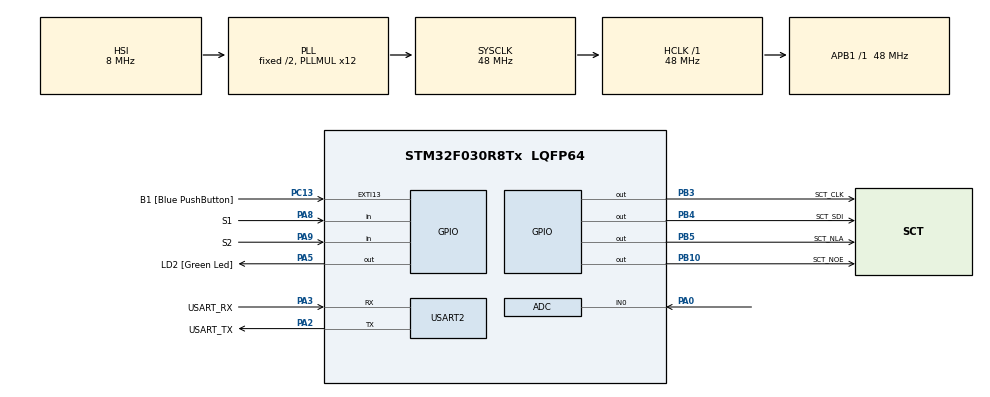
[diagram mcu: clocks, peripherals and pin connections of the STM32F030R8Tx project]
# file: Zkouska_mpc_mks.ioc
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ADC.ContinuousConvMode=ENABLE
ADC.SamplingTime=ADC_SAMPLETIME_239CYCLES_5
Mcu.Family=STM32F0
Mcu.Name=STM32F030R8Tx
Mcu.Package=LQFP64
PA0.Mode=IN0
PA0.Signal=ADC_IN0
PA13.GPIO_Label=TMS
PA13.Mode=Serial_Wire
PA13.Signal=SYS_SWDIO
PA14.GPIO_Label=TCK
PA14.Mode=Serial_Wire
PA14.Signal=SYS_SWCLK
PA2.GPIO_Label=USART_TX
PA2.GPIO_Mode=GPIO_MODE_AF_PP
PA2.GPIO_PuPd=GPIO_NOPULL
PA2.GPIO_Speed=GPIO_SPEED_FREQ_LOW
PA2.Mode=Asynchronous
PA2.Signal=USART2_TX
PA3.GPIO_Label=USART_RX
PA3.GPIO_Mode=GPIO_MODE_AF_PP
PA3.GPIO_PuPd=GPIO_NOPULL
PA3.GPIO_Speed=GPIO_SPEED_FREQ_LOW
PA3.Mode=Asynchronous
PA3.Signal=USART2_RX
PA5.GPIO_Label=LD2 [Green Led]
PA5.GPIO_Mode=GPIO_MODE_OUTPUT_PP
PA5.GPIO_PuPd=GPIO_NOPULL
PA5.GPIO_Speed=GPIO_SPEED_FREQ_LOW
PA5.Signal=GPIO_Output
PA8.GPIO_Label=S1
PA8.GPIO_PuPd=GPIO_PULLUP
PA8.Signal=GPIO_Input
PA9.GPIO_Label=S2
PA9.GPIO_PuPd=GPIO_PULLUP
PA9.Signal=GPIO_Input
PB10.GPIO_Label=SCT_NOE
PB10.Signal=GPIO_Output
PB3.GPIO_Label=SCT_CLK
PB3.Signal=GPIO_Output
PB4.GPIO_Label=SCT_SDI
PB4.Signal=GPIO_Output
PB5.GPIO_Label=SCT_NLA
PB5.Signal=GPIO_Output
PC13.GPIO_Label=B1 [Blue PushButton]
PC13.GPIO_ModeDefaultEXTI=GPIO_MODE_IT_FALLING
PC13.Signal=GPXTI13
PC14-OSC32_IN.Mode=LSE-External-Oscillator
PC14-OSC32_IN.Signal=RCC_OSC32_IN
PC15-OSC32_OUT.Mode=LSE-External-Oscillator
PC15-OSC32_OUT.Signal=RCC_OSC32_OUT
PF0-OSC_IN.Mode=HSE-External-Clock-Source
PF0-OSC_IN.Signal=RCC_OSC_IN
PF1-OSC_OUT.Signal=RCC_OSC_OUT
ProjectManager.HeapSize=0x200
ProjectManager.StackSize=0x400
ProjectManager.TargetToolchain=STM32CubeIDE
RCC.AHBFreq_Value=48000000
RCC.APB1Freq_Value=48000000
RCC.APB1TimFreq_Value=48000000
RCC.HCLKFreq_Value=48000000
RCC.PLLMUL=RCC_PLL_MUL12
RCC.SYSCLKFreq_VALUE=48000000
RCC.SYSCLKSource=RCC_SYSCLKSOURCE_PLLCLK
USART2.VirtualMode-Asynchronous=VM_ASYNC
board=NUCLEO-F030R8

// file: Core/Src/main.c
/* USER CODE BEGIN Header */
/**
  ******************************************************************************
  * @file           : main.c
  * @brief          : Main program body
  ******************************************************************************
  * @attention
  *
  * <h2><center>&copy; Copyright (c) 2021 STMicroelectronics.
  * All rights reserved.</center></h2>
  *
  * This software component is licensed by ST under BSD 3-Clause license,
  * the "License"; You may not use this file except in compliance with the
  * License. You may obtain a copy of the License at:
  *                        opensource.org/licenses/BSD-3-Clause
  *
  ******************************************************************************
  */
/* USER CODE END Header */
#include "main.h"

/* USER CODE BEGIN Includes */
#include "sct.h"
#define max_position 6
/* USER CODE END Includes */

ADC_HandleTypeDef hadc;

UART_HandleTypeDef huart2;

void SystemClock_Config(void);
static void MX_GPIO_Init(void);
static void MX_USART2_UART_Init(void);
static void MX_ADC_Init(void);

/* USER CODE BEGIN 0 */

static volatile uint32_t time_shift;
void HAL_ADC_ConvCpltCallback(ADC_HandleTypeDef* hadc){
	static volatile uint32_t trimer;
	trimer = HAL_ADC_GetValue(hadc);
	time_shift = 50 + (250*trimer/4096) ; // recalculating to corresponding time of trimer ;
}

/* USER CODE END 0 */

int main(void)
{

  /* MCU Configuration--------------------------------------------------------*/

  /* Reset of all peripherals, Initializes the Flash interface and the Systick. */
  HAL_Init();

  /* Configure the system clock */
  SystemClock_Config();

  /* Initialize all configured peripherals */
  MX_GPIO_Init();
  MX_USART2_UART_Init();
  MX_ADC_Init();
  /* USER CODE BEGIN 2 */
  sct_init();
  HAL_ADCEx_Calibration_Start(&hadc);
  HAL_ADC_Start_IT(&hadc);

  /* USER CODE END 2 */

  /* Infinite loop */
  while (1)
  {

    /* USER CODE BEGIN 3 */

	  static enum {forward,backward} state = forward;
	  static uint8_t i ;
	  static uint32_t delay;

	  if(!HAL_GPIO_ReadPin(S1_GPIO_Port,S1_Pin)) state = forward;
	  else if (!HAL_GPIO_ReadPin(S2_GPIO_Port,S2_Pin)) state = backward;

	  if (state == forward){
		  if (HAL_GetTick() > delay + time_shift){
			  sct_value(i);
			  i++;
			  if(i == max_position){
				  i = 0;
			  }

			 delay = HAL_GetTick();
		 }
	  else if (state == backward ){

		  if (HAL_GetTick() > delay + time_shift){
			  sct_value(i);
			  if(i == 0){
				  i = max_position;
			  }
			  i--;

			 delay = HAL_GetTick();
		  }
	  }

	  }

  }
  /* USER CODE END 3 */
}

void SystemClock_Config(void)
{
  RCC_OscInitTypeDef RCC_OscInitStruct = {0};
  RCC_ClkInitTypeDef RCC_ClkInitStruct = {0};

  /** Initializes the RCC Oscillators according to the specified parameters
  * in the RCC_OscInitTypeDef structure.
  */
  RCC_OscInitStruct.OscillatorType = RCC_OSCILLATORTYPE_HSI|RCC_OSCILLATORTYPE_HSI14;
  RCC_OscInitStruct.HSIState = RCC_HSI_ON;
  RCC_OscInitStruct.HSI14State = RCC_HSI14_ON;
  RCC_OscInitStruct.HSICalibrationValue = RCC_HSICALIBRATION_DEFAULT;
  RCC_OscInitStruct.HSI14CalibrationValue = 16;
  RCC_OscInitStruct.PLL.PLLState = RCC_PLL_ON;
  RCC_OscInitStruct.PLL.PLLSource = RCC_PLLSOURCE_HSI;
  RCC_OscInitStruct.PLL.PLLMUL = RCC_PLL_MUL12;
  RCC_OscInitStruct.PLL.PREDIV = RCC_PREDIV_DIV1;
  if (HAL_RCC_OscConfig(&RCC_OscInitStruct) != HAL_OK)
  {
    Error_Handler();
  }
  /** Initializes the CPU, AHB and APB buses clocks
  */
  RCC_ClkInitStruct.ClockType = RCC_CLOCKTYPE_HCLK|RCC_CLOCKTYPE_SYSCLK
                              |RCC_CLOCKTYPE_PCLK1;
  RCC_ClkInitStruct.SYSCLKSource = RCC_SYSCLKSOURCE_PLLCLK;
  RCC_ClkInitStruct.AHBCLKDivider = RCC_SYSCLK_DIV1;
  RCC_ClkInitStruct.APB1CLKDivider = RCC_HCLK_DIV1;

  if (HAL_RCC_ClockConfig(&RCC_ClkInitStruct, FLASH_LATENCY_1) != HAL_OK)
  {
    Error_Handler();
  }
}

static void MX_ADC_Init(void)
{

  ADC_ChannelConfTypeDef sConfig = {0};

  /** Configure the global features of the ADC (Clock, Resolution, Data Alignment and number of conversion)
  */
  hadc.Instance = ADC1;
  hadc.Init.ClockPrescaler = ADC_CLOCK_ASYNC_DIV1;
  hadc.Init.Resolution = ADC_RESOLUTION_12B;
  hadc.Init.DataAlign = ADC_DATAALIGN_RIGHT;
  hadc.Init.ScanConvMode = ADC_SCAN_DIRECTION_FORWARD;
  hadc.Init.EOCSelection = ADC_EOC_SINGLE_CONV;
  hadc.Init.LowPowerAutoWait = DISABLE;
  hadc.Init.LowPowerAutoPowerOff = DISABLE;
  hadc.Init.ContinuousConvMode = ENABLE;
  hadc.Init.DiscontinuousConvMode = DISABLE;
  hadc.Init.ExternalTrigConv = ADC_SOFTWARE_START;
  hadc.Init.ExternalTrigConvEdge = ADC_EXTERNALTRIGCONVEDGE_NONE;
  hadc.Init.DMAContinuousRequests = DISABLE;
  hadc.Init.Overrun = ADC_OVR_DATA_PRESERVED;
  if (HAL_ADC_Init(&hadc) != HAL_OK)
  {
    Error_Handler();
  }
  /** Configure for the selected ADC regular channel to be converted.
  */
  sConfig.Channel = ADC_CHANNEL_0;
  sConfig.Rank = ADC_RANK_CHANNEL_NUMBER;
  sConfig.SamplingTime = ADC_SAMPLETIME_239CYCLES_5;
  if (HAL_ADC_ConfigChannel(&hadc, &sConfig) != HAL_OK)
  {
    Error_Handler();
  }

}

static void MX_USART2_UART_Init(void)
{

  huart2.Instance = USART2;
  huart2.Init.BaudRate = 38400;
  huart2.Init.WordLength = UART_WORDLENGTH_8B;
  huart2.Init.StopBits = UART_STOPBITS_1;
  huart2.Init.Parity = UART_PARITY_NONE;
  huart2.Init.Mode = UART_MODE_TX_RX;
  huart2.Init.HwFlowCtl = UART_HWCONTROL_NONE;
  huart2.Init.OverSampling = UART_OVERSAMPLING_16;
  huart2.Init.OneBitSampling = UART_ONE_BIT_SAMPLE_DISABLE;
  huart2.AdvancedInit.AdvFeatureInit = UART_ADVFEATURE_NO_INIT;
  if (HAL_UART_Init(&huart2) != HAL_OK)
  {
    Error_Handler();
  }

}

static void MX_GPIO_Init(void)
{
  GPIO_InitTypeDef GPIO_InitStruct = {0};

  /* GPIO Ports Clock Enable */
  __HAL_RCC_GPIOC_CLK_ENABLE();
  __HAL_RCC_GPIOF_CLK_ENABLE();
  __HAL_RCC_GPIOA_CLK_ENABLE();
  __HAL_RCC_GPIOB_CLK_ENABLE();

  /*Configure GPIO pin Output Level */
  HAL_GPIO_WritePin(LD2_GPIO_Port, LD2_Pin, GPIO_PIN_RESET);

  /*Configure GPIO pin Output Level */
  HAL_GPIO_WritePin(GPIOB, SCT_NOE_Pin|SCT_CLK_Pin|SCT_SDI_Pin|SCT_NLA_Pin, GPIO_PIN_RESET);

  /*Configure GPIO pin : B1_Pin */
  GPIO_InitStruct.Pin = B1_Pin;
  GPIO_InitStruct.Mode = GPIO_MODE_IT_FALLING;
  GPIO_InitStruct.Pull = GPIO_NOPULL;
  HAL_GPIO_Init(B1_GPIO_Port, &GPIO_InitStruct);

  /*Configure GPIO pin : LD2_Pin */
  GPIO_InitStruct.Pin = LD2_Pin;
  GPIO_InitStruct.Mode = GPIO_MODE_OUTPUT_PP;
  GPIO_InitStruct.Pull = GPIO_NOPULL;
  GPIO_InitStruct.Speed = GPIO_SPEED_FREQ_LOW;
  HAL_GPIO_Init(LD2_GPIO_Port, &GPIO_InitStruct);

  /*Configure GPIO pins : SCT_NOE_Pin SCT_CLK_Pin SCT_SDI_Pin SCT_NLA_Pin */
  GPIO_InitStruct.Pin = SCT_NOE_Pin|SCT_CLK_Pin|SCT_SDI_Pin|SCT_NLA_Pin;
  GPIO_InitStruct.Mode = GPIO_MODE_OUTPUT_PP;
  GPIO_InitStruct.Pull = GPIO_NOPULL;
  GPIO_InitStruct.Speed = GPIO_SPEED_FREQ_LOW;
  HAL_GPIO_Init(GPIOB, &GPIO_InitStruct);

  /*Configure GPIO pins : S1_Pin S2_Pin */
  GPIO_InitStruct.Pin = S1_Pin|S2_Pin;
  GPIO_InitStruct.Mode = GPIO_MODE_INPUT;
  GPIO_InitStruct.Pull = GPIO_PULLUP;
  HAL_GPIO_Init(GPIOA, &GPIO_InitStruct);

}

void Error_Handler(void)
{
}

/************************ (C) COPYRIGHT STMicroelectronics *****END OF FILE****/
